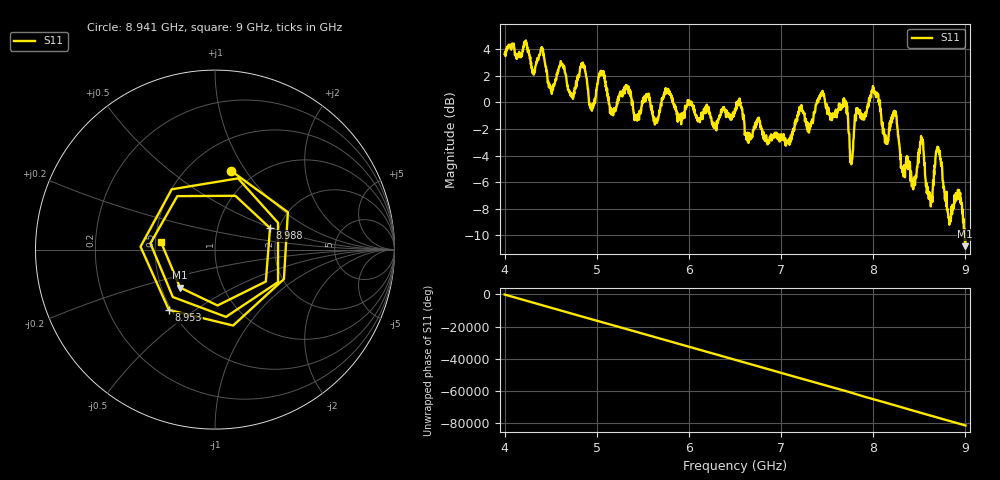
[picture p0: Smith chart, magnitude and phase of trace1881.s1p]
! Created with skrf 1.8.0 (http://scikit-rf.org).
# Hz S RI R 50.0
!freq ReS11 ImS11
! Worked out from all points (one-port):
!   1601 points, 4 GHz to 9 GHz, reference 50 ohm
!   lowest |S11| = -10.8 dB at 8.997 GHz (marker M1), VSWR 1.81, Z = 31.2 - j14.4 ohm
!   |S11| at or under -10 dB: 8.993367 GHz to end of sweep
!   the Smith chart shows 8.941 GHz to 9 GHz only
!   S11 on the Smith chart (normalised r, x): 8.941 GHz: 0.78, +0.86; 8.953 GHz: 0.48, -0.40; 8.988 GHz: 1.80, +0.49; 9 GHz: 0.54, +0.05
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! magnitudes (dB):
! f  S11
! 4 GHz  3.6
! 4.406 GHz  4.1
! 4.506 GHz  0.8
! 4.625 GHz  2.9
! 4.731 GHz  0.6
! 4.856 GHz  2.8
! 4.944 GHz  -0.6
! 5.053 GHz  2.2
! 5.159 GHz  -0.9
! 5.25 GHz  0.7
! 5.875 GHz  -0.9
! 6.5 GHz  -0.5
! 7.125 GHz  -2.2
! 7.447 GHz  0.7
! 7.697 GHz  -0.1
! 7.75 GHz  -4.5
! 8.006 GHz  0.7
! 8.375 GHz  -4.2
! 8.444 GHz  -5.6
! 8.522 GHz  -2.7
! 8.619 GHz  -7.0
! 8.703 GHz  -3.4
! 8.819 GHz  -8.7
! 8.941 GHz  -7.0
! 8.953 GHz  -7.5
! 8.988 GHz  -9.6
! 8.997 GHz  -10.8
! 9 GHz  -10.4
